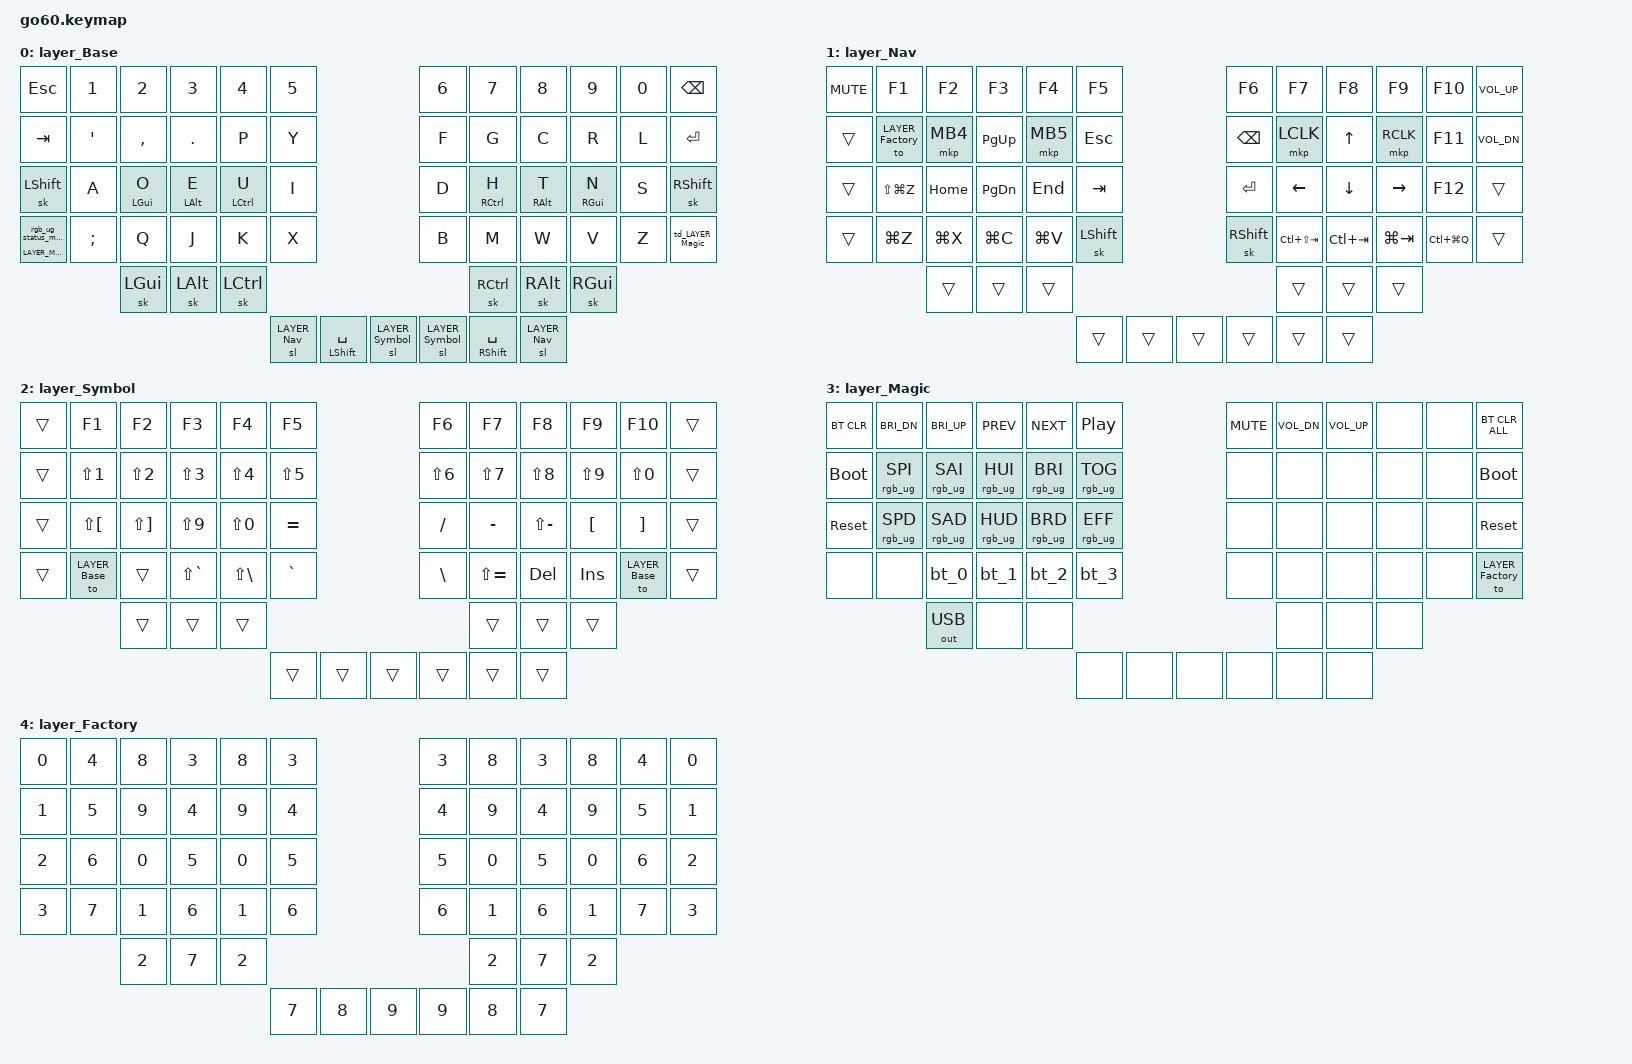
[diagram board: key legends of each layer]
/*
 * Copyright (c) 2020 The ZMK Contributors
 * Copyright (c) 2025 Innaworks Development Limited, trading as MoErgo
 *
 * SPDX-License-Identifier: MIT
 */


/* THIS FILE WAS GENERATED BY GO60 LAYOUT EDITOR
 *
 * This file was generated automatically. You may or may not want to
 * edit it directly.
 */

#include <behaviors.dtsi>

/* Include all behavior includes needed */

#include <dt-bindings/zmk/outputs.h>
#include <dt-bindings/zmk/keys.h>
#include <dt-bindings/zmk/bt.h>
#include <dt-bindings/zmk/rgb.h>

#include <input/processors.dtsi>
#include <dt-bindings/zmk/input_transform.h>
#include <zephyr/dt-bindings/input/input-event-codes.h>

/* On demand includes */
#include <dt-bindings/zmk/input_transform.h>
#include <dt-bindings/zmk/pointing.h>
#include <input/processors.dtsi>

/* Helper Macros, based on https://github.com/urob/zmk-helpers/ */

#pragma once

#define ZMK_HELPER_STRINGIFY(x) #x

// Preprocessor mechanism to overload macros, cf. https://stackoverflow.com/a/27051616/6114651
#define VARGS_(_10, _9, _8, _7, _6, _5, _4, _3, _2, _1, N, ...) N
#define VARGS(...) VARGS_(__VA_ARGS__, 10, 9, 8, 7, 6, 5, 4, 3, 2, 1, 0)
#define CONCAT_(a, b) a##b
#define CONCAT(a, b) CONCAT_(a, b)

#define ZMK_BEHAVIOR_CORE_tap_dance  \
    compatible = "zmk,behavior-tap-dance"; \
    #binding-cells = <0>

#define ZMK_BEHAVIOR(name, type, ...) \
    name: name { \
        ZMK_BEHAVIOR_CORE_ ## type; \
        __VA_ARGS__ \
    };

#define ZMK_TAP_DANCE(name, ...) \
    ZMK_BEHAVIOR(name, tap_dance, __VA_ARGS__)

#define ZMK_TD_LAYER(name, layer) \
    ZMK_TAP_DANCE(name, \
        tapping-term-ms = <200>; \
        bindings = <&mo layer>, <&to layer>; \
)





/* Key positions */

#define POS_LH_C6R1 0
#define POS_LH_C5R1 1
#define POS_LH_C4R1 2
#define POS_LH_C3R1 3
#define POS_LH_C2R1 4
#define POS_LH_C1R1 5
#define POS_RH_C1R1 6
#define POS_RH_C2R1 7
#define POS_RH_C3R1 8
#define POS_RH_C4R1 9
#define POS_RH_C5R1 10
#define POS_RH_C6R1 11
#define POS_LH_C6R2 12
#define POS_LH_C5R2 13
#define POS_LH_C4R2 14
#define POS_LH_C3R2 15
#define POS_LH_C2R2 16
#define POS_LH_C1R2 17
#define POS_RH_C1R2 18
#define POS_RH_C2R2 19
#define POS_RH_C3R2 20
#define POS_RH_C4R2 21
#define POS_RH_C5R2 22
#define POS_RH_C6R2 23
#define POS_LH_C6R3 24
#define POS_LH_C5R3 25
#define POS_LH_C4R3 26
#define POS_LH_C3R3 27
#define POS_LH_C2R3 28
#define POS_LH_C1R3 29
#define POS_RH_C1R3 30
#define POS_RH_C2R3 31
#define POS_RH_C3R3 32
#define POS_RH_C4R3 33
#define POS_RH_C5R3 34
#define POS_RH_C6R3 35
#define POS_LH_C6R4 36
#define POS_LH_C5R4 37
#define POS_LH_C4R4 38
#define POS_LH_C3R4 39
#define POS_LH_C2R4 40
#define POS_LH_C1R4 41
#define POS_RH_C1R4 42
#define POS_RH_C2R4 43
#define POS_RH_C3R4 44
#define POS_RH_C4R4 45
#define POS_RH_C5R4 46
#define POS_RH_C6R4 47
#define POS_LH_C4R5 48
#define POS_LH_C3R5 49
#define POS_LH_C2R5 50
#define POS_RH_C2R5 51
#define POS_RH_C3R5 52
#define POS_RH_C4R5 53
#define POS_LH_T1 54
#define POS_LH_T2 55
#define POS_LH_T3 56
#define POS_RH_T3 57
#define POS_RH_T2 58
#define POS_RH_T1 59


#define LEFT_HAND_KEYS \
  POS_LH_C1R1 POS_LH_C2R1 POS_LH_C3R1 POS_LH_C4R1 POS_LH_C5R1 POS_LH_C6R1 \
  POS_LH_C1R2 POS_LH_C2R2 POS_LH_C3R2 POS_LH_C4R2 POS_LH_C5R2 POS_LH_C6R2 \
  POS_LH_C1R3 POS_LH_C2R3 POS_LH_C3R3 POS_LH_C4R3 POS_LH_C5R3 POS_LH_C6R3 \
  POS_LH_C1R4 POS_LH_C2R4 POS_LH_C3R4 POS_LH_C4R4 POS_LH_C5R4 POS_LH_C6R4 \
              POS_LH_C2R5 POS_LH_C3R5 POS_LH_C4R5

#define RIGHT_HAND_KEYS \
  POS_RH_C1R1 POS_RH_C2R1 POS_RH_C3R1 POS_RH_C4R1 POS_RH_C5R1 POS_RH_C6R1 \
  POS_RH_C1R2 POS_RH_C2R2 POS_RH_C3R2 POS_RH_C4R2 POS_RH_C5R2 POS_RH_C6R2 \
  POS_RH_C1R3 POS_RH_C2R3 POS_RH_C3R3 POS_RH_C4R3 POS_RH_C5R3 POS_RH_C6R3 \
  POS_RH_C1R4 POS_RH_C2R4 POS_RH_C3R4 POS_RH_C4R4 POS_RH_C5R4 POS_RH_C6R4 \
              POS_RH_C2R5 POS_RH_C3R5 POS_RH_C4R5

#define THUMB_KEYS \
  POS_LH_T1 POS_LH_T2 POS_LH_T3 \
  POS_RH_T1 POS_RH_T2 POS_RH_T3

/* Environment and metadata defines */
#define KB_TYPE_GLOVE_80 1
#define KB_TYPE_GO_60    2

#define KB_TYPE          KB_TYPE_GO_60
#define EDITOR_HOST_OS   'L'

/* Automatically generated layer name defines */
#define LAYER_Base 0
#define LAYER_Nav 1
#define LAYER_Symbol 2
#define LAYER_Magic 3
#define LAYER_Factory 4

/* To deal with the situation where there is no Lower layer, to keep &lower happy */
#ifndef LAYER_Lower
#define LAYER_Lower 0
#endif

/* Generated input processors */
/ {
    input_processors {
        zip_click_to_right_click_mapper: zip_click_to_right_click_mapper {
            compatible = "zmk,input-processor-code-mapper";
            #input-processor-cells = <0>;
            type = <INPUT_EV_KEY>;
            map = <INPUT_BTN_0 INPUT_BTN_1>;
        };
    };
};

/* Custom Device-tree */


/* Input Listeners */
&cirque_rh_listener {
    input-processors = <&zip_xy_scaler 3 1>;
    layer_Symbol {
        layers = <LAYER_Symbol>;
        input-processors = <&zip_xy_scaler 9 1>;
    };
};

&cirque_lh_listener {
    input-processors = <&zip_xy_scaler 3 10>, <&zip_xy_transform INPUT_TRANSFORM_Y_INVERT>, <&zip_xy_to_scroll_mapper>, <&zip_click_to_right_click_mapper>;
    layer_Factory {
        layers = <LAYER_Factory>;
        input-processors = <&zip_xy_scaler 3 1>;
    };
};

/* System behavior and macros */
/ {
    behaviors {
        ZMK_TD_LAYER(lower, LAYER_Lower)
    };
};

/ {
    macros {
        rgb_ug_status_macro: rgb_ug_status_macro {
            label = "RGB_UG_STATUS";
            compatible = "zmk,behavior-macro";
            #binding-cells = <0>;
            bindings
                = <&rgb_ug RGB_STATUS>;
        };
    };
};

/ {
#ifdef BT_DISC_CMD
    behaviors {
        bt_0: bt_0 {
            compatible = "zmk,behavior-tap-dance";
            label = "BT_0";
            #binding-cells = <0>;
            tapping-term-ms = <200>;
            bindings = <&bt_select_0>, <&bt BT_DISC 0>;
        };
        bt_1: bt_1 {
            compatible = "zmk,behavior-tap-dance";
            label = "BT_1";
            #binding-cells = <0>;
            tapping-term-ms = <200>;
            bindings = <&bt_select_1>, <&bt BT_DISC 1>;
        };
        bt_2: bt_2 {
            compatible = "zmk,behavior-tap-dance";
            label = "BT_2";
            #binding-cells = <0>;
            tapping-term-ms = <200>;
            bindings = <&bt_select_2>, <&bt BT_DISC 2>;
        };
        bt_3: bt_3 {
            compatible = "zmk,behavior-tap-dance";
            label = "BT_3";
            #binding-cells = <0>;
            tapping-term-ms = <200>;
            bindings = <&bt_select_3>, <&bt BT_DISC 3>;
        };
    };
    macros {
        bt_select_0: bt_select_0 {
            label = "BT_SELECT_0";
            compatible = "zmk,behavior-macro";
            #binding-cells = <0>;
            bindings
                = <&out OUT_BLE>,
                  <&bt BT_SEL 0>;
        };
        bt_select_1: bt_select_1 {
            label = "BT_SELECT_1";
            compatible = "zmk,behavior-macro";
            #binding-cells = <0>;
            bindings
                = <&out OUT_BLE>,
                  <&bt BT_SEL 1>;
        };
        bt_select_2: bt_select_2 {
            label = "BT_SELECT_2";
            compatible = "zmk,behavior-macro";
            #binding-cells = <0>;
            bindings
                = <&out OUT_BLE>,
                  <&bt BT_SEL 2>;
        };
        bt_select_3: bt_select_3 {
            label = "BT_SELECT_3";
            compatible = "zmk,behavior-macro";
            #binding-cells = <0>;
            bindings
                = <&out OUT_BLE>,
                  <&bt BT_SEL 3>;
        };
    };
#else
    macros {
        bt_0: bt_0 {
            label = "BT_0";
            compatible = "zmk,behavior-macro";
            #binding-cells = <0>;
            bindings
                = <&out OUT_BLE>,
                  <&bt BT_SEL 0>;
        };
        bt_1: bt_1 {
            label = "BT_1";
            compatible = "zmk,behavior-macro";
            #binding-cells = <0>;
            bindings
                = <&out OUT_BLE>,
                  <&bt BT_SEL 1>;
        };
        bt_2: bt_2 {
            label = "BT_2";
            compatible = "zmk,behavior-macro";
            #binding-cells = <0>;
            bindings
                = <&out OUT_BLE>,
                  <&bt BT_SEL 2>;
        };
        bt_3: bt_3 {
            label = "BT_3";
            compatible = "zmk,behavior-macro";
            #binding-cells = <0>;
            bindings
                = <&out OUT_BLE>,
                  <&bt BT_SEL 3>;
        };
    };
#endif
};

/ {
    behaviors {
        magic: magic {
            compatible = "zmk,behavior-hold-tap";
            label = "MAGIC_HOLD_TAP";
            #binding-cells = <2>;
            flavor = "tap-preferred";
            tapping-term-ms = <200>;
            bindings = <&mo>, <&rgb_ug_status_macro>;
        };
    };
};


/* Custom Defined Behaviors */
/ {

behaviors {

    hm_l: homerow_mods_left {
        compatible = "zmk,behavior-hold-tap";
        #binding-cells = <2>;
        tapping-term-ms = <400>;
        quick-tap-ms = <0>;
        require-prior-idle-ms = <250>;
        flavor = "tap-preferred";
        retro-tap;
        hold-trigger-key-positions = <6 7 8 9 10 11 18 19 20 21 22 23 30 31 32 33 34 35 42 43 44 45 46 47 48 49 50 51 52 53 54 55 56 57 58 59>;
        hold-trigger-on-release;
        bindings = <&kp>, <&kp>;
    };

    hm_r: homerow_mods_right {
        compatible = "zmk,behavior-hold-tap";
        #binding-cells = <2>;
        tapping-term-ms = <400>;
        quick-tap-ms = <0>;
        require-prior-idle-ms = <250>;
        flavor = "tap-preferred";
        retro-tap;
        hold-trigger-key-positions = <0 1 2 3 4 5 12 13 14 15 16 17 24 25 26 27 28 29 36 37 38 39 40 41 48 49 50 51 52 53 54 55 56 57 58 59>;
        hold-trigger-on-release;
        bindings = <&kp>, <&kp>;
    };

};

};

/* Automatically generated macro definitions */
/ {
    macros {

    };
};

/* Automatically generated behavior definitions */
/ {
    behaviors {

        // Layer tap dance behaviors

        ZMK_TD_LAYER(td_LAYER_Magic, 3)

    };
};

/* Automatically generated combos definitions */


/* Automatically generated keymap */
/ {
    keymap {
        compatible = "zmk,keymap";


        layer_Base {
            bindings = <
              &kp ESC    &kp N1        &kp N2        &kp N3         &kp N4  &kp N5                                                                                                          &kp N6         &kp N7        &kp N8        &kp N9  &kp N0         &kp BSPC
              &kp TAB   &kp SQT     &kp COMMA       &kp DOT          &kp P   &kp Y                                                                                                           &kp F          &kp G         &kp C         &kp R   &kp L          &kp RET
            &sk LSHFT     &kp A  &hm_l LGUI O  &hm_l LALT E  &hm_l LCTRL U   &kp I                                                                                                           &kp D  &hm_r RCTRL H  &hm_r RALT T  &hm_r RGUI N   &kp S        &sk RSHFT
 &magic LAYER_Magic 0  &kp SEMI         &kp Q         &kp J          &kp K   &kp X                                                                                                           &kp B          &kp M         &kp W         &kp V   &kp Z  &td_LAYER_Magic
                                     &sk LGUI      &sk LALT      &sk LCTRL                                                                                                                              &sk RCTRL      &sk RALT      &sk RGUI
                                                                                    &sl LAYER_Nav  &hm_l LSHFT SPACE  &sl LAYER_Symbol  &sl LAYER_Symbol  &hm_r RSHFT SPACE  &sl LAYER_Nav
            >;
        };

        layer_Nav {
            bindings = <
 &kp C_MUTE             &kp F1     &kp F2     &kp F3     &kp F4     &kp F5                                                     &kp F6           &kp F7       &kp F8       &kp F9        &kp F10  &kp C_VOL_UP
     &trans  &to LAYER_Factory   &mkp MB4  &kp PG_UP   &mkp MB5    &kp ESC                                                   &kp BSPC        &mkp LCLK       &kp UP    &mkp RCLK        &kp F11  &kp C_VOL_DN
     &trans      &kp LS(LG(Z))   &kp HOME  &kp PG_DN    &kp END    &kp TAB                                                    &kp RET         &kp LEFT     &kp DOWN    &kp RIGHT        &kp F12        &trans
     &trans          &kp LG(Z)  &kp LG(X)  &kp LG(C)  &kp LG(V)  &sk LSHFT                                                  &sk RSHFT  &kp LC(LS(TAB))  &kp LC(TAB)  &kp LG(TAB)  &kp LC(LG(Q))        &trans
                                   &trans     &trans     &trans                                                                                 &trans       &trans       &trans
                                                                            &trans  &trans  &trans  &trans  &trans  &trans
            >;
        };

        layer_Symbol {
            bindings = <
 &trans          &kp F1        &kp F2         &kp F3        &kp F4      &kp F5                                                      &kp F6         &kp F7         &kp F8      &kp F9         &kp F10  &trans
 &trans      &kp LS(N1)    &kp LS(N2)     &kp LS(N3)    &kp LS(N4)  &kp LS(N5)                                                  &kp LS(N6)     &kp LS(N7)     &kp LS(N8)  &kp LS(N9)      &kp LS(N0)  &trans
 &trans    &kp LS(LBKT)  &kp LS(RBKT)     &kp LS(N9)    &kp LS(N0)   &kp EQUAL                                                   &kp SLASH      &kp MINUS  &kp LS(MINUS)    &kp LBKT        &kp RBKT  &trans
 &trans  &to LAYER_Base        &trans  &kp LS(GRAVE)  &kp LS(BSLH)   &kp GRAVE                                                    &kp BSLH  &kp LS(EQUAL)        &kp DEL     &kp INS  &to LAYER_Base  &trans
                               &trans         &trans        &trans                                                                                 &trans         &trans      &trans
                                                                                &trans  &trans  &trans  &trans  &trans  &trans
            >;
        };

        layer_Magic {
            bindings = <
  &bt BT_CLR     &kp C_BRI_DN     &kp C_BRI_UP       &kp C_PREV       &kp C_NEXT         &kp C_PP                                                  &kp C_MUTE  &kp C_VOL_DN  &kp C_VOL_UP   &none   &none     &bt BT_CLR_ALL
 &bootloader  &rgb_ug RGB_SPI  &rgb_ug RGB_SAI  &rgb_ug RGB_HUI  &rgb_ug RGB_BRI  &rgb_ug RGB_TOG                                                       &none         &none         &none   &none   &none        &bootloader
  &sys_reset  &rgb_ug RGB_SPD  &rgb_ug RGB_SAD  &rgb_ug RGB_HUD  &rgb_ug RGB_BRD  &rgb_ug RGB_EFF                                                       &none         &none         &none   &none   &none         &sys_reset
       &none            &none            &bt_0            &bt_1            &bt_2            &bt_3                                                       &none         &none         &none   &none   &none  &to LAYER_Factory
                                  &out OUT_USB            &none            &none                                                                                      &none         &none   &none
                                                                                                    &none   &none   &none   &none   &none   &none
            >;
        };

        layer_Factory {
            bindings = <
 &kp N0  &kp N4  &kp N8  &kp N3  &kp N8  &kp N3                                                  &kp N3  &kp N8  &kp N3  &kp N8  &kp N4  &kp N0
 &kp N1  &kp N5  &kp N9  &kp N4  &kp N9  &kp N4                                                  &kp N4  &kp N9  &kp N4  &kp N9  &kp N5  &kp N1
 &kp N2  &kp N6  &kp N0  &kp N5  &kp N0  &kp N5                                                  &kp N5  &kp N0  &kp N5  &kp N0  &kp N6  &kp N2
 &kp N3  &kp N7  &kp N1  &kp N6  &kp N1  &kp N6                                                  &kp N6  &kp N1  &kp N6  &kp N1  &kp N7  &kp N3
                 &kp N2  &kp N7  &kp N2                                                                  &kp N2  &kp N7  &kp N2
                                                 &kp N7  &kp N8  &kp N9  &kp N9  &kp N8  &kp N7
            >;
        };

    };
};
